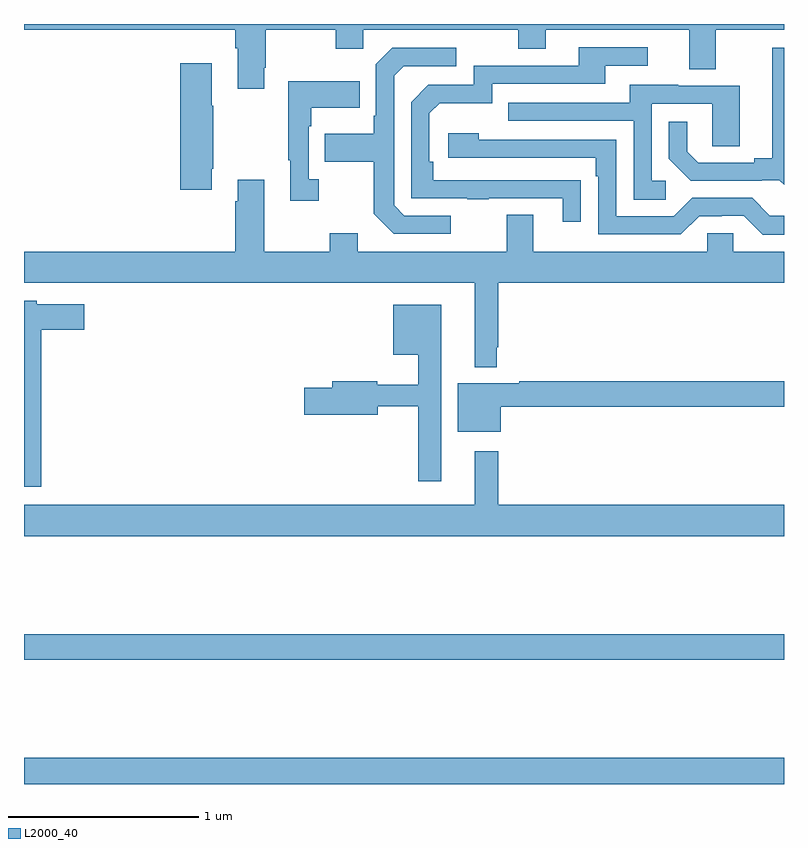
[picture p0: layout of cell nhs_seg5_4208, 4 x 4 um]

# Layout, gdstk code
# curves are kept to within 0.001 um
import gdstk
lib = gdstk.Library(unit=1e-6, precision=1e-09)
def R(c, l, rs):  # rectangles x0, y0, x1, y1
    for r in rs: c.add(gdstk.rectangle(r[:2], r[2:], *l))
def P(c, l, *ps):  # polygons
    for p in ps: c.add(gdstk.Polygon(p, *l))
L2000_40 = (2000, 40)

nhs_seg5_4208 = lib.new_cell('nhs_seg5_4208')
R(nhs_seg5_4208, L2000_40, [(359,844.799,363,844.936), (359,845.452,363,845.588)])
P(nhs_seg5_4208, L2000_40, [(360.265,848.569),(360.273,848.569),(360.273,848.768),(360.64,848.768),(360.64,848.669),(360.786,848.669),(360.786,848.768),(361.6,848.768),(361.6,848.669),(361.747,848.669),(361.747,848.768),(362.501,848.768),(362.501,848.56),(362.641,848.56),(362.641,848.768),(363,848.768),(363,848.799),(359,848.799),(359,848.768),(360.113,848.768),(360.113,848.672),(360.125,848.672),(360.125,848.457),(360.265,848.457)],
  [(361.931,847.976),(361.154,847.977),(361.154,848.074),(361.134,848.074),(361.134,848.328),(361.187,848.381),(361.464,848.381),(361.464,848.484),(362.059,848.484),(362.059,848.58),(362.284,848.58),(362.284,848.676),(361.919,848.676),(361.919,848.58),(361.368,848.58),(361.368,848.478),(361.128,848.478),(361.038,848.388),(361.038,847.881),(361.333,847.881),(361.333,847.876),(361.445,847.876),(361.445,847.881),(361.835,847.881),(361.835,847.758),(361.931,847.758)],
  [(363,848.673),(362.939,848.673),(362.939,848.093),(362.843,848.093),(362.843,848.07),(362.548,848.07),(362.491,848.127),(362.491,848.284),(362.394,848.284),(362.394,848.09),(362.51,847.974),(362.882,847.974),(362.882,847.977),(362.976,847.977),(363,847.953)],
  [(361.246,847.791),(361.002,847.791),(360.948,847.845),(360.948,848.526),(360.999,848.577),(361.276,848.577),(361.276,848.673),(360.939,848.673),(360.852,848.586),(360.852,848.317),(360.84,848.317),(360.84,848.221),(360.583,848.221),(360.583,848.074),(360.84,848.074),(360.84,847.801),(360.945,847.695),(361.246,847.695)],
  [(359.989,848.038),(359.997,848.038),(359.997,848.369),(359.989,848.369),(359.989,848.593),(359.822,848.593),(359.822,847.926),(359.989,847.926)],
  [(360.55,847.982),(360.498,847.982),(360.498,848.261),(360.511,848.261),(360.511,848.357),(360.767,848.357),(360.767,848.497),(360.39,848.497),(360.39,848.081),(360.401,848.081),(360.401,847.869),(360.55,847.869)],
  [(362.377,847.974),(362.304,847.974),(362.304,848.379),(362.622,848.379),(362.622,848.155),(362.767,848.155),(362.767,848.475),(362.443,848.475),(362.443,848.479),(362.189,848.479),(362.189,848.385),(361.549,848.385),(361.549,848.289),(362.208,848.289),(362.208,847.873),(362.377,847.873)],
  [(363,847.791),(362.925,847.791),(362.832,847.884),(362.517,847.884),(362.421,847.788),(362.118,847.788),(362.118,848.19),(361.394,848.19),(361.394,848.224),(361.233,848.224),(361.233,848.094),(362.009,848.094),(362.009,847.997),(362.022,847.997),(362.022,847.692),(362.457,847.692),(362.553,847.788),(362.672,847.788),(362.672,847.791),(362.787,847.791),(362.887,847.691),(363,847.691)],
  [(361.488,847.099),(361.495,847.099),(361.495,847.436),(363,847.436),(363,847.6),(362.733,847.6),(362.733,847.698),(362.595,847.698),(362.595,847.6),(361.681,847.6),(361.681,847.795),(361.541,847.795),(361.541,847.6),(360.757,847.6),(360.757,847.699),(360.61,847.699),(360.61,847.6),(360.265,847.6),(360.265,847.978),(360.125,847.978),(360.125,847.865),(360.113,847.865),(360.113,847.6),(359,847.6),(359,847.436),(361.373,847.436),(361.373,846.992),(361.488,846.992)],
  [(359.09,847.19),(359.317,847.19),(359.317,847.324),(359.067,847.324),(359.067,847.342),(359,847.342),(359,846.363),(359.09,846.363)],
  [(361.195,847.321),(360.944,847.321),(360.944,847.058),(361.074,847.058),(361.074,846.901),(360.858,846.901),(360.858,846.92),(360.623,846.92),(360.623,846.884),(360.474,846.884),(360.474,846.742),(360.862,846.742),(360.862,846.788),(361.074,846.788),(361.074,846.393),(361.195,846.393)],
  [(361.51,846.784),(363,846.784),(363,846.92),(361.606,846.92),(361.606,846.907),(361.283,846.907),(361.283,846.653),(361.51,846.653)],
  [(363,846.268),(361.495,846.268),(361.495,846.55),(361.373,846.55),(361.373,846.268),(359,846.268),(359,846.104),(363,846.104)])

lib.write_gds('nhs_seg5_4208.gds')
